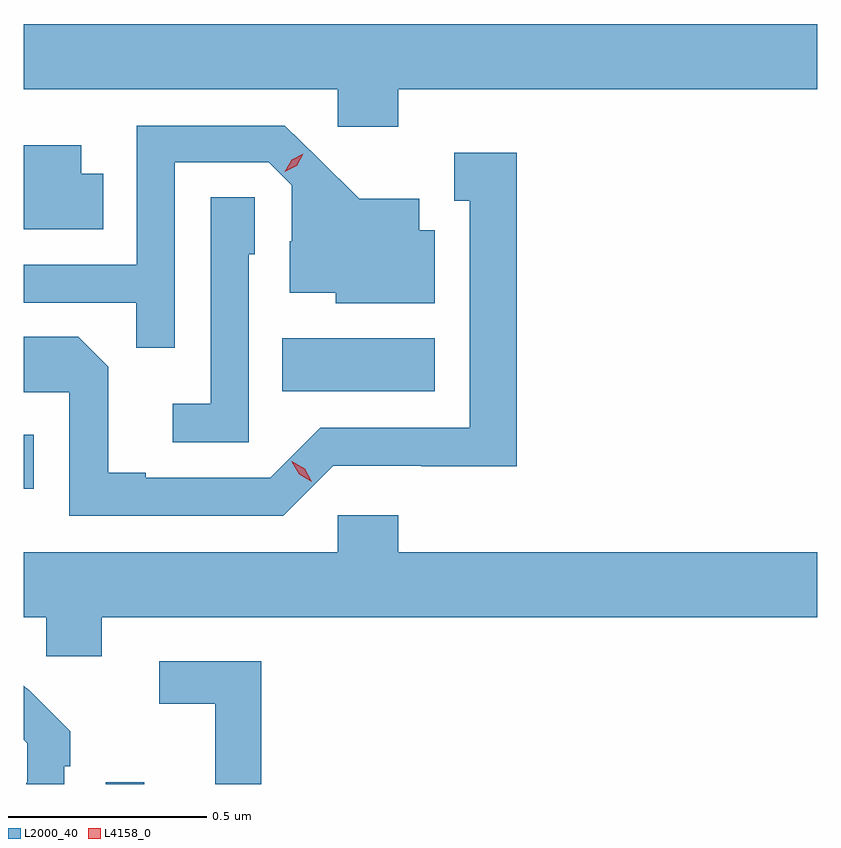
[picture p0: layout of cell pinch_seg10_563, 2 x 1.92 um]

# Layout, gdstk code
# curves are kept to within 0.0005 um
import gdstk
lib = gdstk.Library(unit=1e-6, precision=1e-09)
def R(c, l, rs):  # rectangles x0, y0, x1, y1
    for r in rs: c.add(gdstk.rectangle(r[:2], r[2:], *l))
def P(c, l, *ps):  # polygons
    for p in ps: c.add(gdstk.Polygon(p, *l))
L2000_40 = (2000, 40)
L4158_0 = (4158, 0)

pinch_seg10_563 = lib.new_cell('pinch_seg10_563')
R(pinch_seg10_563, L2000_40, [(222.837,1253.276,222.933,1253.281), (222.63,1254.02,222.655,1254.156), (223.282,1254.266,223.666,1254.4)])
P(pinch_seg10_563, L2000_40, [(223.574,1255.028),(224.63,1255.028),(224.63,1255.192),(222.63,1255.192),(222.63,1255.028),(223.422,1255.028),(223.422,1254.933),(223.574,1254.933)],
  [(223.011,1254.843),(223.248,1254.843),(223.305,1254.786),(223.305,1254.644),(223.301,1254.644),(223.301,1254.515),(223.416,1254.515),(223.416,1254.488),(223.666,1254.488),(223.666,1254.672),(223.627,1254.672),(223.627,1254.751),(223.475,1254.751),(223.288,1254.936),(222.915,1254.936),(222.915,1254.585),(222.63,1254.585),(222.63,1254.489),(222.913,1254.489),(222.913,1254.376),(223.011,1254.376)],
  [(222.83,1254.814),(222.775,1254.814),(222.775,1254.886),(222.63,1254.886),(222.63,1254.674),(222.83,1254.674)],
  [(223.41,1254.078),(223.632,1254.078),(223.632,1254.077),(223.873,1254.077),(223.873,1254.868),(223.715,1254.868),(223.715,1254.747),(223.754,1254.747),(223.754,1254.174),(223.377,1254.174),(223.251,1254.048),(222.937,1254.048),(222.937,1254.061),(222.843,1254.061),(222.843,1254.328),(222.767,1254.404),(222.63,1254.404),(222.63,1254.264),(222.744,1254.264),(222.744,1253.952),(223.284,1253.952)],
  [(223.197,1254.612),(223.212,1254.612),(223.212,1254.755),(223.101,1254.755),(223.101,1254.235),(223.005,1254.235),(223.005,1254.138),(223.197,1254.138)],
  [(222.826,1253.696),(224.63,1253.696),(224.63,1253.86),(223.574,1253.86),(223.574,1253.953),(223.422,1253.953),(223.422,1253.86),(222.63,1253.86),(222.63,1253.696),(222.687,1253.696),(222.687,1253.598),(222.826,1253.598)],
  [(223.229,1253.586),(222.972,1253.586),(222.972,1253.478),(223.112,1253.478),(223.112,1253.276),(223.229,1253.276)],
  [(222.732,1253.321),(222.747,1253.321),(222.747,1253.409),(222.642,1253.514),(222.641,1253.513),(222.63,1253.524),(222.63,1253.388),(222.639,1253.379),(222.639,1253.279),(222.636,1253.279),(222.636,1253.276),(222.732,1253.276)])
P(pinch_seg10_563, L4158_0, [(223.356,1254.038),(223.324,1254.057),(223.306,1254.089),(223.306,1254.09),(223.306,1254.09),(223.338,1254.071),(223.356,1254.038),(223.356,1254.038)],
  [(223.288,1254.82),(223.288,1254.82),(223.305,1254.85),(223.335,1254.865),(223.335,1254.865),(223.335,1254.865),(223.318,1254.835),(223.288,1254.82)])

lib.write_gds('pinch_seg10_563.gds')
